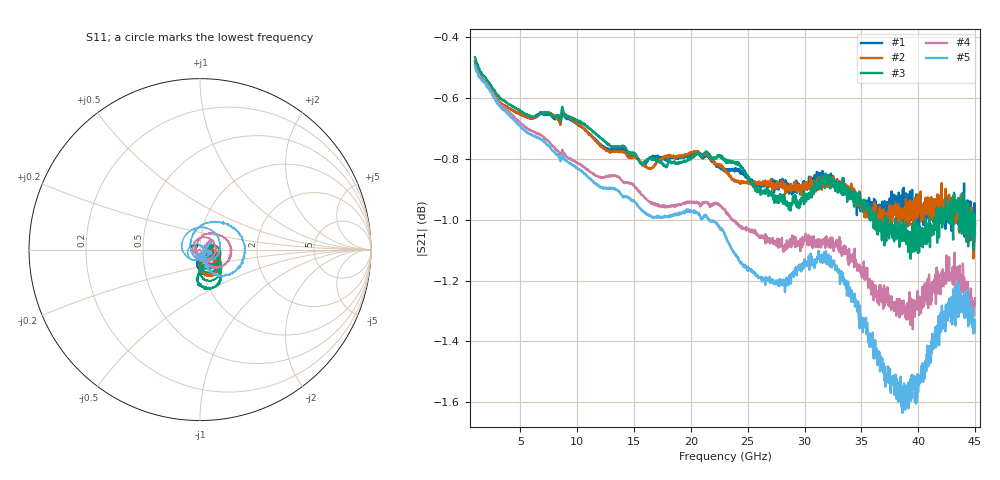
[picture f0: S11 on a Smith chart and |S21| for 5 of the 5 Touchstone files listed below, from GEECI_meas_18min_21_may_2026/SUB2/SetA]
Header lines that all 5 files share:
!Keysight Technologies,N5247B,MY61255062,A.19.80.06
!Correction: S11(Cdelta 2-Port  )
!S21(Cdelta 2-Port  )
!S12(Cdelta 2-Port  )
!S22(Cdelta 2-Port  )
!S2P File: Measurements: S11, S21, S12, S22:
# Hz S  dB  R 50
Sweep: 1 GHz to 45 GHz
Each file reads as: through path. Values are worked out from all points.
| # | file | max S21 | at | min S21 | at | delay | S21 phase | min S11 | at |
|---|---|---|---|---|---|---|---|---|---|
| 1 | thru1.s2p | -0.48 dB | 1 GHz | -1.1 dB | 44.09 GHz | 50.1 ps | -56 deg at 23 GHz | -33.9 dB | 21.52 GHz |
| 2 | thru2.s2p | -0.48 dB | 1 GHz | -1.1 dB | 44.86 GHz | 50.1 ps | -56 deg at 23 GHz | -33.0 dB | 21.32 GHz |
| 3 | thru3.s2p | -0.47 dB | 1 GHz | -1.1 dB | 39.34 GHz | 49.7 ps | -52 deg at 23 GHz | -28.5 dB | 11.29 GHz |
| 4 | TN2_15um.s2p | -0.49 dB | 1 GHz | -1.4 dB | 39.53 GHz | 56.3 ps | -107 deg at 23 GHz | -53.8 dB | 9.002 GHz |
| 5 | TN3_60um.s2p | -0.49 dB | 1 GHz | -1.6 dB | 38.62 GHz | 56.3 ps | -109 deg at 23 GHz | -34.9 dB | 18.43 GHz |
